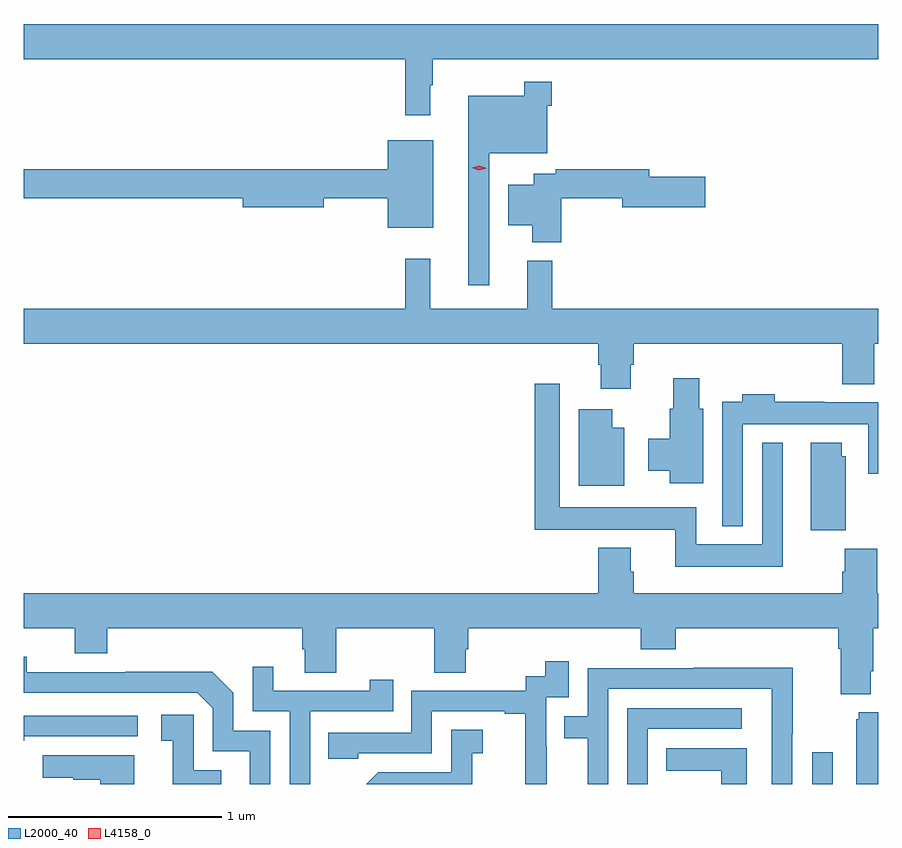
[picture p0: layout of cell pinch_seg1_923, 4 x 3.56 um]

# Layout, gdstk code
import gdstk
lib = gdstk.Library(unit=1e-6, precision=1e-09)
def R(c, l, rs):  # rectangles x0, y0, x1, y1
    for r in rs: c.add(gdstk.rectangle(r[:2], r[2:], *l))
def P(c, l, *ps):  # polygons
    for p in ps: c.add(gdstk.Polygon(p, *l))
L2000_40 = (2000, 40)
L4158_0 = (4158, 0)

pinch_seg1_923 = lib.new_cell('pinch_seg1_923')
R(pinch_seg1_923, L2000_40, [(235.053,569.651,235.149,569.8)])
P(pinch_seg1_923, L2000_40, [(233.266,572.921),(233.278,572.921),(233.278,573.044),(235.363,573.044),(235.363,573.208),(231.363,573.208),(231.363,573.044),(233.149,573.044),(233.149,572.781),(233.266,572.781)],
  [(233.541,572.603),(233.814,572.603),(233.814,572.825),(233.834,572.825),(233.834,572.938),(233.706,572.938),(233.706,572.872),(233.444,572.872),(233.444,571.986),(233.541,571.986)],
  [(233.281,572.665),(233.066,572.665),(233.066,572.528),(231.363,572.528),(231.363,572.392),(232.388,572.392),(232.388,572.35),(232.768,572.35),(232.768,572.392),(233.066,572.392),(233.066,572.255),(233.281,572.255)],
  [(233.879,572.392),(234.164,572.392),(234.164,572.35),(234.553,572.35),(234.553,572.492),(234.292,572.492),(234.292,572.528),(233.854,572.528),(233.854,572.508),(233.75,572.508),(233.75,572.455),(233.63,572.455),(233.63,572.267),(233.744,572.267),(233.744,572.186),(233.879,572.186)],
  [(234.205,571.614),(234.218,571.614),(234.218,571.712),(235.193,571.712),(235.193,571.523),(235.345,571.523),(235.345,571.712),(235.363,571.712),(235.363,571.876),(233.837,571.876),(233.837,572.101),(233.72,572.101),(233.72,571.876),(233.267,571.876),(233.267,572.11),(233.149,572.11),(233.149,571.876),(231.363,571.876),(231.363,571.712),(234.053,571.712),(234.053,571.614),(234.065,571.614),(234.065,571.5),(234.205,571.5)],
  [(234.544,571.407),(234.526,571.407),(234.526,571.549),(234.404,571.549),(234.404,571.407),(234.386,571.407),(234.386,571.266),(234.287,571.266),(234.287,571.118),(234.386,571.118),(234.386,571.059),(234.544,571.059)],
  [(234.916,571.249),(234.819,571.249),(234.819,570.772),(234.51,570.772),(234.51,570.946),(233.871,570.946),(233.871,571.525),(233.755,571.525),(233.755,570.84),(233.878,570.84),(233.878,570.842),(234.413,570.842),(234.413,570.668),(234.916,570.668)],
  [(234.729,571.334),(235.317,571.334),(235.317,571.104),(235.363,571.104),(235.363,571.438),(235.109,571.438),(235.109,571.441),(234.878,571.441),(234.878,571.474),(234.725,571.474),(234.725,571.441),(234.633,571.441),(234.633,570.857),(234.729,570.857)],
  [(234.175,571.318),(234.118,571.318),(234.118,571.405),(233.96,571.405),(233.96,571.046),(234.175,571.046)],
  [(235.21,571.185),(235.192,571.185),(235.192,571.249),(235.046,571.249),(235.046,570.838),(235.21,570.838)],
  [(235.327,570.178),(235.34,570.178),(235.34,570.38),(235.363,570.38),(235.363,570.544),(235.358,570.544),(235.358,570.753),(235.205,570.753),(235.205,570.644),(235.193,570.644),(235.193,570.544),(234.218,570.544),(234.218,570.645),(234.205,570.645),(234.205,570.757),(234.053,570.757),(234.053,570.544),(231.363,570.544),(231.363,570.38),(231.602,570.38),(231.602,570.263),(231.755,570.263),(231.755,570.38),(232.667,570.38),(232.667,570.282),(232.679,570.282),(232.679,570.172),(232.827,570.172),(232.827,570.38),(233.284,570.38),(233.284,570.172),(233.431,570.172),(233.431,570.282),(233.444,570.282),(233.444,570.38),(234.251,570.38),(234.251,570.281),(234.416,570.281),(234.416,570.38),(235.175,570.38),(235.175,570.284),(235.187,570.284),(235.187,570.071),(235.327,570.071)],
  [(232.518,569.901),(232.344,569.901),(232.344,570.078),(232.246,570.176),(231.838,570.176),(231.838,570.174),(231.378,570.174),(231.378,570.247),(231.363,570.247),(231.363,570.078),(232.176,570.078),(232.248,570.006),(232.248,569.805),(232.421,569.805),(232.421,569.651),(232.518,569.651)],
  [(233.81,569.828),(233.808,569.828),(233.808,570.057),(233.913,570.057),(233.913,570.226),(233.805,570.226),(233.805,570.156),(233.712,570.156),(233.712,570.087),(233.178,570.087),(233.178,569.892),(232.789,569.892),(232.789,569.769),(232.929,569.769),(232.929,569.796),(233.274,569.796),(233.274,569.991),(233.615,569.991),(233.615,569.979),(233.711,569.979),(233.711,569.695),(233.71,569.695),(233.71,569.651),(233.81,569.651)],
  [(232.704,569.991),(233.093,569.991),(233.093,570.139),(232.982,570.139),(232.982,570.087),(232.531,570.087),(232.531,570.199),(232.434,570.199),(232.434,569.991),(232.608,569.991),(232.608,569.651),(232.704,569.651)],
  [(234.099,570.096),(234.864,570.096),(234.864,569.651),(234.96,569.651),(234.96,569.887),(234.963,569.887),(234.963,570.194),(234.499,570.194),(234.499,570.192),(234.003,570.192),(234.003,569.967),(233.893,569.967),(233.893,569.866),(234.003,569.866),(234.003,569.651),(234.099,569.651)],
  [(234.285,569.91),(234.724,569.91),(234.724,570.006),(234.189,570.006),(234.189,569.651),(234.285,569.651)],
  [(235.363,569.986),(235.271,569.986),(235.271,569.955),(235.259,569.955),(235.259,569.651),(235.363,569.651)],
  [(232.287,569.715),(232.158,569.715),(232.158,569.974),(232.008,569.974),(232.008,569.853),(232.061,569.853),(232.061,569.651),(232.287,569.651)],
  [(231.365,569.874),(231.898,569.874),(231.898,569.97),(231.363,569.97),(231.363,569.854),(231.365,569.854)],
  [(233.463,569.795),(233.512,569.795),(233.512,569.905),(233.364,569.905),(233.364,569.706),(233.022,569.706),(232.967,569.651),(233.463,569.651)],
  [(234.748,569.818),(234.37,569.818),(234.37,569.714),(234.627,569.714),(234.627,569.651),(234.748,569.651)],
  [(231.88,569.785),(231.453,569.785),(231.453,569.681),(231.596,569.681),(231.596,569.671),(231.722,569.671),(231.722,569.651),(231.88,569.651)])
P(pinch_seg1_923, L4158_0, [(233.494,572.524),(233.459,572.536),(233.458,572.536),(233.459,572.536),(233.495,572.544),(233.53,572.533),(233.53,572.533),(233.53,572.533)])

lib.write_gds('pinch_seg1_923.gds')
